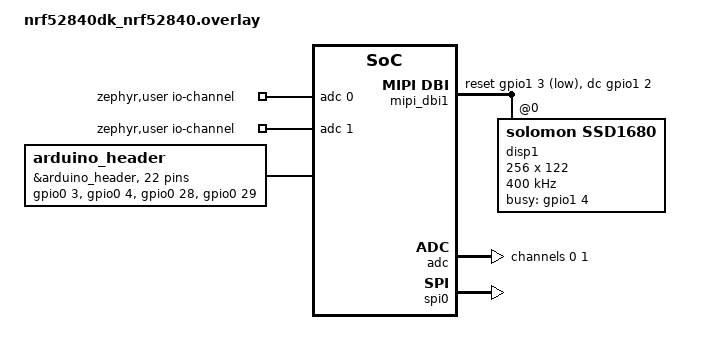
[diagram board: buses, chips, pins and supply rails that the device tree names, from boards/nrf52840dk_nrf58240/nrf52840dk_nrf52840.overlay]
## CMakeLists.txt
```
cmake_minimum_required(VERSION 3.20.0)
find_package(Zephyr REQUIRED HINTS $ENV{ZEPHYR_BASE})

project(joystick)

target_sources(app PRIVATE src/main.c)
```

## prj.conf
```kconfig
CONFIG_ADC=y
CONFIG_LV_Z_SHELL=y
CONFIG_MAIN_STACK_SIZE=4096
CONFIG_DISPLAY=y
CONFIG_DISPLAY_LOG_LEVEL_DBG=y
CONFIG_DISPLAY_INIT_PRIORITY=80
CONFIG_LOG=y
CONFIG_SHELL=y
CONFIG_LVGL=y
CONFIG_LV_USE_LOG=y
CONFIG_LV_USE_LABEL=y
CONFIG_LV_FONT_MONTSERRAT_14=y
CONFIG_LV_FONT_MONTSERRAT_28=y
CONFIG_LV_COLOR_DEPTH_1=y
CONFIG_LV_DRAW_BUF_STRIDE_ALIGN=8
CONFIG_LV_Z_MEM_POOL_SIZE=65536

CONFIG_DEBUG=y
CONFIG_PRINTK=y
CONFIG_THREAD_NAME=y
CONFIG_DEBUG_INFO=y
CONFIG_ASSERT=y

CONFIG_SSD16XX=y

CONFIG_SPI=y
CONFIG_SPI_NRFX=y

CONFIG_GPIO=y
CONFIG_GPIO_NRFX=y

CONFIG_SERIAL=y
CONFIG_UART_CONSOLE=y
CONFIG_CONSOLE=y

# Optional debug
# CONFIG_SSD16XX_LOG_LEVEL_DBG=y
# CONFIG_MIPI_DBI_LOG_LEVEL_DBG=y
# CONFIG_NO_OPTIMIZATIONS=y
# CONFIG_MAIN_STACK_SIZE=31744
# CONFIG_LOG_BUFFER_SIZE=8192
# CONFIG_LOG_MODE_IMMEDIATE=y
```

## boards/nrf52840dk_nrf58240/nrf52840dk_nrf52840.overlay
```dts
/*
 * SPDX-License-Identifier: Apache-2.0
 *
 * Copyright (c) 2022 Nordic Semiconductor ASA
 */


/ {
	zephyr,user {
		io-channels = <&adc 0>, <&adc 1>;
	};
};

&adc {
	#address-cells = <1>;
	#size-cells = <0>;

	channel@0 {
		reg = <0>;
		zephyr,gain = "ADC_GAIN_1_5";
		zephyr,reference = "ADC_REF_INTERNAL";
		zephyr,acquisition-time = <ADC_ACQ_TIME_DEFAULT>;
		zephyr,input-positive = <NRF_SAADC_AIN1>; /* P0.03 */
		zephyr,resolution = <12>;
	};

	channel@1 {
		reg = <1>;
		zephyr,gain = "ADC_GAIN_1_5";
		zephyr,reference = "ADC_REF_INTERNAL";
		zephyr,acquisition-time = <ADC_ACQ_TIME_DEFAULT>;
		zephyr,input-positive = <NRF_SAADC_AIN2>; /* P0.04 */
		zephyr,resolution = <12>;
	};
};

/{
    chosen {
        zephyr,display = &disp1;
    };

    mipi_dbi1 {
        compatible = "zephyr,mipi-dbi-spi";
        dc-gpios = <&gpio1 2 GPIO_ACTIVE_HIGH>;
        reset-gpios = <&gpio1 3 GPIO_ACTIVE_LOW>;
        spi-dev = <&spi0>;
        write-only;
        #address-cells = <1>;
        #size-cells = <0>;
        status = "okay";

        disp1: ssd1680@0 {
            compatible = "solomon,ssd1680";
            reg = <0>;
            busy-gpios = <&gpio1 4 (GPIO_PULL_DOWN | GPIO_ACTIVE_HIGH)>;
            width = <256>;
            height = <122>;
            rotation = <0>;
            mipi-max-frequency = <400000>;   
            
            full {};
            partial {};

            status = "okay";
        };
    };
};


&spi0 {
    status = "okay";
    cs-gpios = <&gpio1 1 GPIO_ACTIVE_LOW>;
};

&gpio1 {
    status = "okay";
};

&arduino_i2c {
    status = "disabled";
};

&arduino_header {
    gpio-map = <0 0 &gpio0 3 0>,
               <1 0 &gpio0 4 0>,
               <2 0 &gpio0 28 0>,
               <3 0 &gpio0 29 0>,
               <4 0 &gpio0 30 0>,
               <5 0 &gpio0 31 0>,
               <6 0 &gpio1 1 0>,
               <7 0 &gpio1 2 0>,
               <8 0 &gpio1 3 0>,
               <9 0 &gpio1 4 0>,
               <10 0 &gpio1 5 0>,
               <11 0 &gpio1 6 0>,
               <12 0 &gpio1 7 0>,
               <13 0 &gpio1 8 0>,
               <14 0 &gpio1 10 0>,
               <15 0 &gpio1 11 0>,
               <16 0 &gpio1 12 0>,
               <17 0 &gpio1 13 0>,
               <18 0 &gpio1 14 0>,
               <19 0 &gpio1 15 0>,
               <20 0 &gpio0 26 0>,
               <21 0 &gpio0 27 0>;
};
```

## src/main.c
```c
#include <inttypes.h>
#include <stddef.h>
#include <stdint.h>
#include <string.h>

#include <zephyr/device.h>
#include <zephyr/devicetree.h>
#include <zephyr/drivers/adc.h>
#include <zephyr/kernel.h>
#include <zephyr/sys/printk.h>
#include <zephyr/sys/util.h>
#include <zephyr/drivers/display.h>
#include <zephyr/drivers/gpio.h>
#include <zephyr/logging/log.h>
LOG_MODULE_REGISTER(main);

#define DT_SPEC_AND_COMMA(node_id, prop, idx) \
	ADC_DT_SPEC_GET_BY_IDX(node_id, idx),

static const struct adc_dt_spec adc_channels[] = {
	DT_FOREACH_PROP_ELEM(DT_PATH(zephyr_user), io_channels,
			     DT_SPEC_AND_COMMA)
};

#define DISPLAY_WIDTH      256
#define DISPLAY_HEIGHT     120
#define DISPLAY_PITCH      DISPLAY_WIDTH
#define DISPLAY_BYTE_PITCH ((DISPLAY_WIDTH + 7) / 8)
#define DISPLAY_BUF_SIZE   (DISPLAY_BYTE_PITCH * DISPLAY_HEIGHT)

#define PIXEL_ON 0
#define PIXEL_OFF 1

static uint8_t raw_buf[DISPLAY_WIDTH * DISPLAY_HEIGHT];  
static uint8_t disp_buf[DISPLAY_BUF_SIZE];               
void set_pixel(int x, int y) {
   if (x < 0 || x >= DISPLAY_WIDTH || y < 0 || y >= DISPLAY_HEIGHT) return;
   raw_buf[y * DISPLAY_WIDTH + x] = PIXEL_ON;
}

static void pack_buffer(void) {
   memset(disp_buf, 0xFF, sizeof(disp_buf));  // Set all to white
   for (int y = 0; y < DISPLAY_HEIGHT; y++) {
       for (int x = 0; x < DISPLAY_WIDTH; x++) {
           if (raw_buf[y * DISPLAY_WIDTH + x] == PIXEL_ON) {
               int byte_index = x + (y / 8) * DISPLAY_WIDTH;
               int bit_pos = 7 - (y % 8);
               disp_buf[byte_index] &= ~(1 << bit_pos);
           }
       }
   }
}

void draw_square_5x5(int x_start, int y_start) {
    for (int y = y_start; y < y_start + 10; y++) {
        for (int x = x_start; x < x_start + 10; x++) {
            set_pixel(x, y);
        }
    }
}

int main(void)
{
    const struct device *display_dev = DEVICE_DT_GET(DT_CHOSEN(zephyr_display));
    if (!device_is_ready(display_dev)) {
        LOG_ERR("Display not ready");
        return 1;
    }

    const struct device *reset_dev = device_get_binding("GPIO_1");
    if (reset_dev) {
        gpio_pin_configure(reset_dev, 3, GPIO_OUTPUT);
        gpio_pin_set(reset_dev, 3, 0);
        k_sleep(K_MSEC(10));
        gpio_pin_set(reset_dev, 3, 1);
        k_sleep(K_MSEC(10));
    }

    int err;
    uint32_t count = 0;
    uint16_t adc_buf;  
    struct adc_sequence sequence = {
        .buffer = &adc_buf,
        .buffer_size = sizeof(adc_buf),
    };

    struct display_buffer_descriptor desc = {
        .width = DISPLAY_WIDTH,
        .height = DISPLAY_HEIGHT,
        .pitch = DISPLAY_PITCH,
        .buf_size = DISPLAY_BUF_SIZE,
    };

    for (size_t i = 0U; i < ARRAY_SIZE(adc_channels); i++) {
        if (!adc_is_ready_dt(&adc_channels[i])) {
            printk("ADC controller device %s not ready\n", adc_channels[i].dev->name);
            return 0;
        }

        err = adc_channel_setup_dt(&adc_channels[i]);
        if (err < 0) {
            printk("Could not setup channel #%d (%d)\n", i, err);
            return 0;
        }
    }
	    memset(raw_buf, PIXEL_OFF, sizeof(raw_buf));

    while (1) {
        printk("ADC reading[%u]:\n", count++);
        int32_t y_mv = 0;
        int32_t x_mv = 0;
		    memset(raw_buf, PIXEL_OFF, sizeof(raw_buf));
        for (size_t i = 0U; i < ARRAY_SIZE(adc_channels); i++) {
            int32_t val_mv;

            (void)adc_sequence_init_dt(&adc_channels[i], &sequence);
            err = adc_read_dt(&adc_channels[i], &sequence);
            if (err < 0) {
                printk("Could not read (%d)\n", err);
                continue;
            }

            val_mv = adc_channels[i].channel_cfg.differential
                   ? (int32_t)((int16_t)adc_buf)
                   : (int32_t)adc_buf;

            err = adc_raw_to_millivolts_dt(&adc_channels[i], &val_mv);

            if (i == 0) {
                y_mv = val_mv;
            } else if (i == 1) {
                x_mv = val_mv;
            }
        }

        printk("Joystick Position: x = %d mV, y = %d mV\n", x_mv, y_mv);

        if (y_mv > 2500) printk("Y: POSITIVE\n");
        else if (y_mv < 1500) printk("Y: NEGATIVE\n");
        else printk("Y: CENTERED\n");

        if (x_mv > 2500) printk("X: POSITIVE\n");
        else if (x_mv < 1500) printk("X: NEGATIVE\n");
        else printk("X: CENTERED\n");

		//conversions into dimensions

        int x_disp = x_mv * 250 / 3000;
        int y_disp = y_mv * 120 / 3000;

        // prevent out of bounds
        if (x_disp > DISPLAY_WIDTH - 10) x_disp = DISPLAY_WIDTH - 10;
        if (y_disp > DISPLAY_HEIGHT - 10) y_disp = DISPLAY_HEIGHT - 10;

        draw_square_5x5(x_disp, y_disp);
        pack_buffer();
        display_write(display_dev, 0, 0, &desc, disp_buf);

        k_sleep(K_MSEC(1));
    }

    return 0;
}
```
